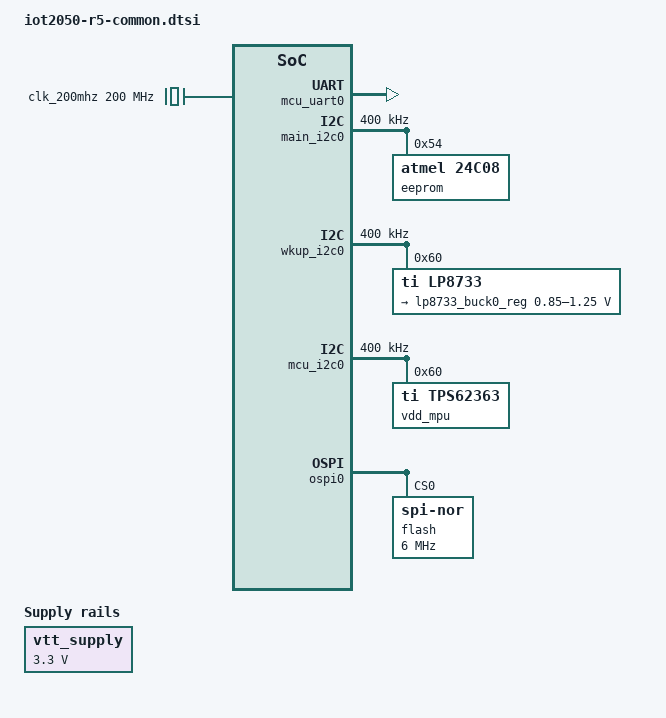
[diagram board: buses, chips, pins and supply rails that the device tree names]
// SPDX-License-Identifier: GPL-2.0
/*
 * Copyright (C) 2016-2018 Texas Instruments Incorporated - http://www.ti.com/
 */

/ {
	aliases {
		serial1 = &mcu_uart0;
		serial2 = &main_uart0;
	};

	chosen {
		stdout-path = "serial3:115200n8";
		tick-timer = &timer1;
	};

	aliases {
		remoteproc0 = &sysctrler;
		remoteproc1 = &a53_0;
		remoteproc2 = &a53_2;
	};

	a53_0: a53@0 {
		compatible = "ti,am654-rproc";
		reg = <0x0 0x00a90000 0x0 0x10>;
		power-domains = <&k3_pds 61 TI_SCI_PD_SHARED>,
				<&k3_pds 202 TI_SCI_PD_SHARED>;
		resets = <&k3_reset 202 0>;
		assigned-clocks = <&k3_clks 202 0>;
		assigned-clock-rates = <1000000000>;
		ti,sci = <&dmsc>;
		ti,sci-proc-id = <32>;
		ti,sci-host-id = <10>;
		u-boot,dm-spl;
	};

	a53_2: a53@2 {
		compatible = "ti,am654-rproc";
		reg = <0x0 0x00a90000 0x0 0x10>;
		power-domains = <&k3_pds 61 TI_SCI_PD_SHARED>,
				<&k3_pds 204 TI_SCI_PD_SHARED>;
		resets = <&k3_reset 204 0>;
		assigned-clocks = <&k3_clks 204 0>;
		assigned-clock-rates = <1000000000>;
		ti,sci = <&dmsc>;
		ti,sci-proc-id = <34>;
		ti,sci-host-id = <12>;
		u-boot,dm-spl;
	};


	vtt_supply: vtt_supply {
		compatible = "regulator-gpio";
		regulator-name = "vtt";
		regulator-min-microvolt = <0>;
		regulator-max-microvolt = <3300000>;
		gpios = <&wkup_gpio0 18 GPIO_ACTIVE_HIGH>;
		states = <0 0x0 3300000 0x1>;
		u-boot,dm-spl;
	};
};

&cbass_main {
	timer1: timer@40400000 {
		compatible = "ti,omap5430-timer";
		reg = <0x0 0x40400000 0x0 0x80>;
		ti,timer-alwon;
		clock-frequency = <25000000>;
		u-boot,dm-pre-reloc;
	};
};

&cbass_mcu {
	mcu_secproxy: secproxy@28380000 {
		compatible = "ti,am654-secure-proxy";
		reg = <0x0 0x2a380000 0x0 0x80000>,
		      <0x0 0x2a400000 0x0 0x80000>,
		      <0x0 0x2a480000 0x0 0x80000>;
		reg-names = "rt", "scfg", "target_data";
		#mbox-cells = <1>;
		u-boot,dm-spl;
	};
};

&cbass_wakeup {
	sysctrler: sysctrler {
		compatible = "ti,am654-system-controller";
		mboxes= <&mcu_secproxy 4>, <&mcu_secproxy 5>;
		mbox-names = "tx", "rx";
		u-boot,dm-spl;
	};

	clk_200mhz: dummy_clock {
		compatible = "fixed-clock";
		#clock-cells = <0>;
		clock-frequency = <200000000>;
		u-boot,dm-spl;
	};
    wkup_vtm0: wkup_vtm@42050000 {
        compatible = "ti,am654-vtm", "ti,am654-avs";
        reg = <0x42050000 0x25c>;
        power-domains = <&k3_pds 80 TI_SCI_PD_EXCLUSIVE>;
        #thermal-sensor-cells = <1>;
    };
};

&dmsc {
	mboxes= <&mcu_secproxy 8>, <&mcu_secproxy 6>, <&mcu_secproxy 5>;
	mbox-names = "tx", "rx", "notify";
	ti,host-id = <4>;
	ti,secure-host;
};

&mcu_uart0 {
	u-boot,dm-spl;
	pinctrl-names = "default";
	pinctrl-0 = <&mcu_uart0_pins_default>;
	clock-frequency = <48000000>;
	status = "okay";
};

&main_uart0 {
    u-boot,dm-spl;
	power-domains = <&k3_pds 146 TI_SCI_PD_SHARED>;
};

&main_i2c0 {
	u-boot,dm-spl;
	pinctrl-names = "default";
	pinctrl-0 = <&main_i2c0_pins_default>;
	status = "okay";
	clock-frequency = <400000>;
	power-domains = <&k3_pds 110 TI_SCI_PD_SHARED>;
	eeprom@54 {
		compatible = "atmel,24c08";
		reg = <0x54>;
		pagesize = <16>;
	};
};

&wkup_i2c0 {
	u-boot,dm-spl;
	pinctrl-names = "default";
	pinctrl-0 = <&wkup_i2c0_pins_default>;
	status = "okay";
	clock-frequency = <400000>;
	power-domains = <&k3_pds 115 TI_SCI_PD_SHARED>;
	lp8733: lp8733@60 {
		compatible = "ti,lp8733";
		reg = <0x60>;
		u-boot,dm-spl;
		lp8733_regulators: regulators {
			u-boot,dm-spl;
			lp8733_buck0_reg: buck0 {
				regulator-name = "lp8733-buck0";
				regulator-min-microvolt = <850000>;
				regulator-max-microvolt = <1250000>;
				regulator-always-on;
				regulator-boot-on;
				u-boot,dm-spl;
			};
		};
	};
};

&mcu_i2c0 {
	u-boot,dm-spl;
	pinctrl-names = "default";
	pinctrl-0 = <&mcu_i2c0_pins_default>;
	status = "okay";
	clock-frequency = <400000>;
	power-domains = <&k3_pds 114 TI_SCI_PD_SHARED>;
	vdd_mpu: tps62363@60 {
		compatible = "ti,tps62363";
		reg = <0x60>;
		regulator-name = "VDD_MPU";
		regulator-min-microvolt = <500000>;
		regulator-max-microvolt = <1770000>;
		regulator-always-on;
		regulator-boot-on;
		ti,vsel0-state-high;
		ti,vsel1-state-high;
		u-boot,dm-spl;
	};
};

&wkup_vtm0 {
	vdd-supply-2 = <&lp8733_buck0_reg>;
	vdd-supply-3 = <&vdd_mpu>;
	vdd-supply-4 = <&vdd_mpu>;
	u-boot,dm-spl;
};

&wkup_pmx0 {
	u-boot,dm-spl;
	wkup_vtt_pins_default: wkup_vtt_pins_default {
		pinctrl-single,pins = <
			AM65X_WKUP_IOPAD(0x0018, PIN_OUTPUT_PULLUP, 7)	/* WKUP_GPIO0_18 */
		>;
		u-boot,dm-spl;
	};

	mcu_uart0_pins_default: mcu_uart0_pins_default {
		pinctrl-single,pins = <
			AM65X_WKUP_IOPAD(0x0044, PIN_INPUT, 4)	/* (P4) MCU_OSPI1_D1.MCU_UART0_RXD */
			AM65X_WKUP_IOPAD(0x0048, PIN_OUTPUT, 4)	/* (P5) MCU_OSPI1_D2.MCU_UART0_TXD */
			AM65X_WKUP_IOPAD(0x004C, PIN_INPUT, 4)	/* (P1) MCU_OSPI1_D3.MCU_UART0_CTSn */
			AM65X_WKUP_IOPAD(0x0054, PIN_OUTPUT, 4)	/* (N3) MCU_OSPI1_CSn1.MCU_UART0_RTSn */
		>;
		u-boot,dm-spl;
	};

	wkup_i2c0_pins_default: wkup-i2c0-pins-default {
		pinctrl-single,pins = <
			AM65X_WKUP_IOPAD(0x00e0, PIN_INPUT, 0) /* (AC7) WKUP_I2C0_SCL */
			AM65X_WKUP_IOPAD(0x00e4, PIN_INPUT, 0) /* (AD6) WKUP_I2C0_SDA */
		>;
	};

	mcu_i2c0_pins_default: mcu_i2c0_pins_default {
		pinctrl-single,pins = <
			AM65X_WKUP_IOPAD(0x00e8, PIN_INPUT, 0) /* (AD8) MCU_I2C0_SCL */
			AM65X_WKUP_IOPAD(0x00ec, PIN_INPUT, 0) /* (AD7) MCU_I2C0_SDA */
		>;
	};

	mcu_fss0_ospi0_pins_default: mcu_fss0_ospi0_pins_default {
		pinctrl-single,pins = <
			AM65X_WKUP_IOPAD(0x0000, PIN_OUTPUT, 0) /* (V1) MCU_OSPI0_CLK */
			AM65X_WKUP_IOPAD(0x0008, PIN_INPUT, 0)	 /* (U2) MCU_OSPI0_DQS */
			AM65X_WKUP_IOPAD(0x000c, PIN_OUTPUT, 0)  /* (U4) MCU_OSPI0_D0 */
			AM65X_WKUP_IOPAD(0x0010, PIN_INPUT, 0)  /* (U5) MCU_OSPI0_D1 */
			AM65X_WKUP_IOPAD(0x002c, PIN_OUTPUT, 0) /* (R4) MCU_OSPI0_CSn0 */
		>;
		u-boot,dm-spl;
	};
};

&main_pmx1 {
	u-boot,dm-spl;
	main_i2c0_pins_default: main_i2c0_pins_default {
		pinctrl-single,pins = <
			AM65X_IOPAD(0x0000, PIN_INPUT, 0) /* (D20) I2C0_SCL */
			AM65X_IOPAD(0x0004, PIN_INPUT, 0) /* (C21) I2C0_SDA */
		>;
		u-boot,dm-spl;
	};
};

&memorycontroller {
	vtt-supply = <&vtt_supply>;
	pinctrl-names = "default";
	pinctrl-0 = <&wkup_vtt_pins_default>;
};

&sdhci1 {
	clock-names = "clk_xin";
	clocks = <&clk_200mhz>;
	/delete-property/ power-domains;
	ti,driver-strength-ohm = <50>;
};

&ospi0 {
	status = "okay";
	pinctrl-names = "default";
	pinctrl-0 = <&mcu_fss0_ospi0_pins_default>;
	u-boot,dm-spl;
	reg = <0x0 0x47040000 0x0 0x100>,
	      <0x0 0x50000000 0x0 0x8000000>;
	clocks = <&clk_200mhz>;
	/delete-property/ power-domains;

	flash@0{
		compatible = "jedec,spi-nor";
		reg = <0x0>;
		spi-tx-bus-width = <1>;
		spi-rx-bus-width = <1>;
		spi-max-frequency = <6000000>;
		cdns,tshsl-ns = <500>;
		cdns,tsd2d-ns = <500>;
		cdns,tchsh-ns = <119>;
		cdns,tslch-ns = <119>;
		cdns,read-delay = <0>;
		#address-cells = <1>;
		#size-cells = <1>;
		u-boot,dm-spl;
	};
};
